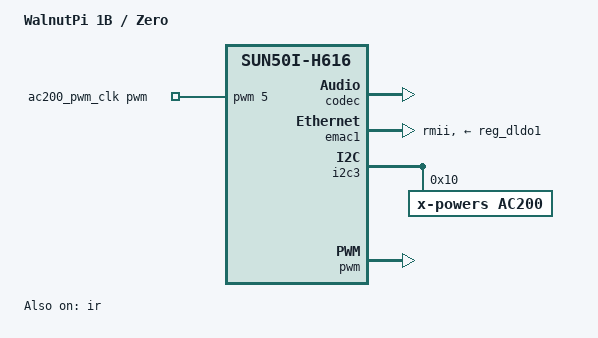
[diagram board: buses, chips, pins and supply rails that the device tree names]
// SPDX-License-Identifier: (GPL-2.0+ OR MIT)
/*
 * WalnutPi 1B 与 ZeroW 共用这一份设备树。
 * 板级来自核桃派原理图和 wiki；芯片绑定走主线 H616 / AXP313A。
 * 官方 DTB 和未测完的魔改不当规格。
 * Zero 的网口/音频/红外在 FPC 上，节点仍打开：无扩展板时 I2C NAK，无害。
 */

/dts-v1/;

#include "sun50i-h616-walnutpi.dtsi"
#include "sun50i-h616-cpu-opp.dtsi"

/ {
	model = "WalnutPi 1B / Zero";
	compatible = "walnutpi,1b", "walnutpi,zero", "walnutpi,zerow",
		     "allwinner,sun50i-h618", "allwinner,sun50i-h616";

	aliases {
		ethernet0 = &emac1;
	};

	/*
	 * AC200 要 24 MHz。pwm-clock 要求 period 等于
	 * 1e9/freq 或 DIV_ROUND_UP(1e9,freq)，即 41 或 42 ns。
	 * 写成 500 ns（2 MHz）会探测失败 -22，EMAC 随后复位超时。
	 */
	ac200_pwm_clk: ac200-clk {
		compatible = "pwm-clock";
		#clock-cells = <0>;
		pwms = <&pwm 5 42 0>;
		clock-frequency = <24000000>;
	};

	sound_hdmi: sound-hdmi {
		compatible = "allwinner,sunxi-hdmi-machine";
		sunxi,cpudai-controller = <&ahub_daudio1>;
		sunxi,snddaudio-codec = "hdmi-audio-codec.4.auto";
	};
};

&codec {
	allwinner,audio-routing =
		"Line Out", "LINEOUT";
	status = "okay";
};

&emac1 {
	pinctrl-names = "default";
	pinctrl-0 = <&rmii_emac1_pins>;
	clocks = <&ccu CLK_BUS_EMAC1>, <&ccu CLK_EMAC_25M>, <&ac200_pwm_clk>;
	clock-names = "stmmaceth", "25m", "ephy24m";
	phy-mode = "rmii";
	phy-supply = <&reg_dldo1>;
	allwinner,rx-delay-ps = <3100>;
	allwinner,tx-delay-ps = <700>;
	status = "okay";
};

&i2c3 {
	status = "okay";
	pinctrl-names = "default";
	pinctrl-0 = <&i2c3_pa_pins>;

	ac200: mfd@10 {
		compatible = "x-powers,ac200";
		reg = <0x10>;
		clocks = <&ac200_pwm_clk>;
		nvmem-cells = <&ephy_calibration>;
		nvmem-cell-names = "calibration";

		ac200_ephy: ac200-ephy {
			compatible = "x-powers,ac200-ephy";
			status = "okay";
		};
	};
};

&ir {
	status = "okay";
};

&pwm {
	pinctrl-names = "default";
	pinctrl-0 = <&pwm5_pin>;
	status = "okay";
};
